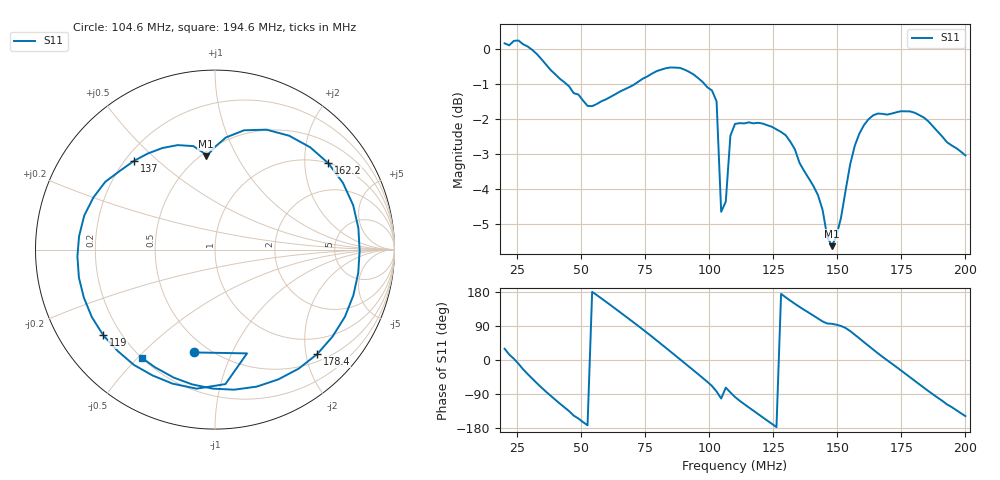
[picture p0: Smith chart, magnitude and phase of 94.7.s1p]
# HZ S RI R 50
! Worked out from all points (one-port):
!   101 points, 20 MHz to 200 MHz, reference 50 ohm
!   lowest |S11| = -5.6 dB at 147.8 MHz (marker M1), VSWR 3.19, Z = 26.5 + j37.9 ohm
!   |S11| at or under -10 dB: nowhere
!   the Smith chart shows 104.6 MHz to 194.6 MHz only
!   S11 on the Smith chart (normalised r, x): 104.6 MHz: 0.42, -0.73; 119 MHz: 0.13, -0.33; 137 MHz: 0.23, +0.42; 162.2 MHz: 1.01, +2.62; 178.4 MHz: 0.64, -2.22; 194.6 MHz: 0.20, -0.51
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2e7  0.8856 0.5043
2.54e7  1.014 -0.1721
3.26e7  0.4751 -0.8614
3.8e7  -0.0718 -0.9305
4.34e7  -0.5156 -0.7328
5.42e7  -0.8285 0.00281
6.5e7  -0.5182 0.6979
7.58e7  0.298 0.8639
8.3e7  0.7955 0.4989
8.84e7  0.9391 0.0405
9.38e7  0.8168 -0.4233
9.92e7  0.473 -0.7442
1.028e8  0.1017 -0.8356
1.046e8  -0.1179 -0.573
1.064e8  0.1783 -0.5782
1.1e8  -0.1023 -0.7747
1.19e8  -0.6222 -0.4776
1.262e8  -0.7666 -0.038
1.334e8  -0.6114 0.3775
1.37e8  -0.4515 0.4942
1.478e8  -0.0504 0.5199
1.55e8  0.1618 0.6648
1.622e8  0.6317 0.4809
1.694e8  0.8058 -0.00639
1.784e8  0.5698 -0.5818
1.856e8  0.1066 -0.7804
1.946e8  -0.4074 -0.6035
2e8  -0.5977 -0.3725
